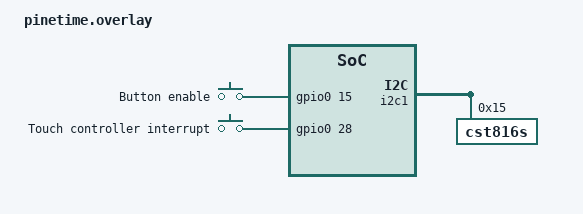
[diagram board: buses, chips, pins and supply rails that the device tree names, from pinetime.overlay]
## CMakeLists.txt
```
# SPDX-License-Identifier: Apache-2.0

cmake_minimum_required(VERSION 3.13.1)
include($ENV{ZEPHYR_BASE}/cmake/app/boilerplate.cmake NO_POLICY_SCOPE)
project(watch)

target_sources(app PRIVATE src/qrcodegen.c src/graphics.c src/main.c src/hl_bluetooth.c src/touch.c src/i2console.c)
```

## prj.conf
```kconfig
CONFIG_PRINTK=y

CONFIG_HEAP_MEM_POOL_SIZE=16384

CONFIG_BT=y
CONFIG_BT_DEVICE_NAME="PineTime"
CONFIG_BT_SMP=y
CONFIG_BT_PERIPHERAL=y
CONFIG_BT_GATT_CLIENT=y
CONFIG_BT_GATT_DIS=y
CONFIG_BT_GATT_DIS_PNP=n
CONFIG_BT_GATT_BAS=y
CONFIG_BT_GATT_HRS=y

CONFIG_GPIO=y
CONFIG_SPI=y
CONFIG_I2C=y
CONFIG_I2C_0=n
CONFIG_I2C_1=y

CONFIG_DISPLAY=y
CONFIG_ST7789V=y
#CONFIG_ST7789V_LCD_TL019FQV01=n
CONFIG_ST7789V_RGB565=y

CONFIG_DISPLAY_LOG_LEVEL_DBG=y

CONFIG_LOG=y
```

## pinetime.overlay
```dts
/ {
	buttons {
		button_enable: button_enable {
			gpios = <&gpio0 15 GPIO_INT_ACTIVE_HIGH>;
			label = "Button enable";
		};
	};

	touch {
		compatible = "gpio-keys";
		touch_interrupt: touch_interrupt {
			gpios = <&gpio0 28 GPIO_INT_ACTIVE_HIGH>;
			label = "Touch controller interrupt";
		};
	};

	aliases {
		touch-interrupt = &touch_interrupt;
		button-enable = &button_enable;
	};
};

&i2c1 {
	cst816s@15 {
		reg = <0x15>;
		label = "CST816S";
	};
};
```

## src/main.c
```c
#include <string.h>
#include <stdio.h>
#include <stdbool.h>

#include "qrcodegen.h"
#include "graphics.h"
#include "hl_bluetooth.h"
#include "touch.h"
#include "i2console.h"

#define BL_PORT DT_ALIAS_LED1_GPIOS_CONTROLLER
#define BL_PIN DT_ALIAS_LED1_GPIOS_PIN

#define BTN_PORT DT_ALIAS_SW0_GPIOS_CONTROLLER
#define BTN_PIN DT_ALIAS_SW0_GPIOS_PIN

#define BTN_ENABLE_PORT DT_ALIAS_BUTTON_ENABLE_GPIOS_CONTROLLER
#define BTN_ENABLE_PIN DT_ALIAS_BUTTON_ENABLE_GPIOS_PIN

// Enables the backlight.
void backlight_init(void) {
    struct device *dev = device_get_binding(BL_PORT);
    gpio_pin_configure(dev, BL_PIN, GPIO_DIR_OUT);
    gpio_pin_write(dev, BL_PIN, 0);
}

void button_init(void) {
    struct device *dev = device_get_binding(BTN_PORT);
    gpio_pin_configure(dev, BTN_PIN, GPIO_DIR_IN | GPIO_PUD_PULL_DOWN);

    dev = device_get_binding(BTN_ENABLE_PORT);
    gpio_pin_configure(dev, BTN_ENABLE_PIN, GPIO_DIR_OUT);
    gpio_pin_write(dev, BTN_ENABLE_PIN, 1);
}

int button_read(void) {
    struct device *dev = device_get_binding(BTN_PORT);
    int value;
    gpio_pin_read(dev, BTN_PIN, &value);
    return value;
}

#define qrprintf(ctx, ...) do { \
        char sprintfed[400]; \
        snprintf(sprintfed, 400, __VA_ARGS__); \
        graphics_clear_display(ctx); \
        graphics_draw_qr_code(ctx, 0, 0, sprintfed); \
    } while (0)

static struct graphics_context *global_ctx;

void main(void) {
    struct device *display = device_get_binding(DT_INST_0_SITRONIX_ST7789V_LABEL);

    backlight_init();
    button_init();
    touch_init();

    struct graphics_context ctx = graphics_init(display);
    global_ctx = &ctx;
    graphics_clear_display(&ctx);

    LOG("Starting!");

    graphics_draw_rect(&ctx, 0, 0, 10, 10, DISPLAY_WHITE);
    graphics_clear_display(&ctx);

    graphics_draw_rect(&ctx, 25, 25, 100, 40, 0b0001100011100011);
    graphics_text_write_string(&ctx, 30, 50, "Hello...", DISPLAY_WHITE, 0b0001100011100011);
    
    while (true) {
        k_usleep(1);

        uint16_t x, y;
        if (touch_get(&x, &y)) {
            graphics_draw_rect(&ctx, x, y, 10, 10, DISPLAY_WHITE);
        }
    }
}
```

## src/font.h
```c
#pragma once

#include <stdint.h>

// From https://github.com/adafruit/Adafruit-GFX-Library/blob/master/Fonts/FreeSans12pt7b.h

struct font_glyph {
    uint16_t bitmap_offset; ///< Pointer into GFXfont->bitmap
    uint8_t width;          ///< Bitmap dimensions in pixels
    uint8_t height;         ///< Bitmap dimensions in pixels
    uint8_t x_advance;      ///< Distance to advance cursor (x axis)
    int8_t x_offset;        ///< X dist from cursor pos to UL corner
    int8_t y_offset;        ///< Y dist from cursor pos to UL corner
};

struct font {
    uint8_t *bitmap;           ///< Glyph bitmaps, concatenated
    struct text_glyph *glyph;  ///< Glyph array
    uint8_t first;             ///< ASCII extents (first char)
    uint8_t last;              ///< ASCII extents (last char)
    uint8_t y_advance;          ///< Newline distance (y axis)
};

const uint8_t font_data[] = {
    0xFF, 0xFF, 0xFF, 0xF0, 0xF0, 0xCF, 0x3C, 0xF3, 0x8A, 0x20, 0x06, 0x30,
    0x31, 0x03, 0x18, 0x18, 0xC7, 0xFF, 0xBF, 0xFC, 0x31, 0x03, 0x18, 0x18,
    0xC7, 0xFF, 0xBF, 0xFC, 0x31, 0x01, 0x18, 0x18, 0xC0, 0xC6, 0x06, 0x30,
    0x04, 0x03, 0xE1, 0xFF, 0x72, 0x6C, 0x47, 0x88, 0xF1, 0x07, 0x20, 0x7E,
    0x03, 0xF0, 0x17, 0x02, 0x3C, 0x47, 0x88, 0xF1, 0x1B, 0x26, 0x7F, 0xC3,
    0xE0, 0x10, 0x02, 0x00, 0x00, 0x06, 0x03, 0xC0, 0x40, 0x7E, 0x0C, 0x0E,
    0x70, 0x80, 0xC3, 0x18, 0x0C, 0x31, 0x00, 0xE7, 0x30, 0x07, 0xE6, 0x00,
    0x3C, 0x40, 0x00, 0x0C, 0x7C, 0x00, 0x8F, 0xE0, 0x19, 0xC7, 0x01, 0x18,
    0x30, 0x31, 0x83, 0x02, 0x1C, 0x70, 0x40, 0xFE, 0x04, 0x07, 0xC0, 0x0F,
    0x00, 0x7E, 0x03, 0x9C, 0x0C, 0x30, 0x30, 0xC0, 0xE7, 0x01, 0xF8, 0x03,
    0x80, 0x3E, 0x01, 0xCC, 0x6E, 0x19, 0xB0, 0x7C, 0xC0, 0xF3, 0x03, 0xCE,
    0x1F, 0x9F, 0xE6, 0x1E, 0x1C, 0xFF, 0xA0, 0x08, 0x8C, 0x66, 0x31, 0x98,
    0xC6, 0x31, 0x8C, 0x63, 0x08, 0x63, 0x08, 0x61, 0x0C, 0x20, 0x82, 0x18,
    0xC3, 0x18, 0xC3, 0x18, 0xC6, 0x31, 0x8C, 0x62, 0x31, 0x88, 0xC4, 0x62,
    0x00, 0x10, 0x23, 0x5B, 0xE3, 0x8D, 0x91, 0x00, 0x0C, 0x03, 0x00, 0xC0,
    0x30, 0xFF, 0xFF, 0xF0, 0xC0, 0x30, 0x0C, 0x03, 0x00, 0xC0, 0xF5, 0x60,
    0xFF, 0xF0, 0xF0, 0x02, 0x0C, 0x10, 0x20, 0xC1, 0x02, 0x0C, 0x10, 0x20,
    0xC1, 0x02, 0x0C, 0x10, 0x20, 0xC1, 0x00, 0x1F, 0x07, 0xF1, 0xC7, 0x30,
    0x6E, 0x0F, 0x80, 0xF0, 0x1E, 0x03, 0xC0, 0x78, 0x0F, 0x01, 0xE0, 0x3C,
    0x0E, 0xC1, 0x9C, 0x71, 0xFC, 0x1F, 0x00, 0x08, 0xCF, 0xFF, 0x8C, 0x63,
    0x18, 0xC6, 0x31, 0x8C, 0x63, 0x18, 0x1F, 0x0F, 0xF9, 0x87, 0x60, 0x7C,
    0x06, 0x00, 0xC0, 0x18, 0x07, 0x01, 0xC0, 0xF0, 0x78, 0x1C, 0x06, 0x00,
    0x80, 0x30, 0x07, 0xFF, 0xFF, 0xE0, 0x3F, 0x0F, 0xF3, 0x87, 0x60, 0x6C,
    0x0C, 0x01, 0x80, 0x70, 0x7C, 0x0F, 0x80, 0x18, 0x01, 0x80, 0x3C, 0x07,
    0x80, 0xD8, 0x73, 0xFC, 0x1F, 0x00, 0x01, 0x80, 0x70, 0x0E, 0x03, 0xC0,
    0xD8, 0x1B, 0x06, 0x61, 0x8C, 0x21, 0x8C, 0x33, 0x06, 0x7F, 0xFF, 0xFE,
    0x03, 0x00, 0x60, 0x0C, 0x01, 0x80, 0x3F, 0xCF, 0xF9, 0x80, 0x30, 0x06,
    0x00, 0xDE, 0x1F, 0xE7, 0x0E, 0x00, 0xE0, 0x0C, 0x01, 0x80, 0x30, 0x07,
    0x81, 0xF8, 0x73, 0xFC, 0x1F, 0x00, 0x0F, 0x07, 0xF9, 0xC3, 0x30, 0x74,
    0x01, 0x80, 0x33, 0xC7, 0xFE, 0xF0, 0xDC, 0x1F, 0x01, 0xE0, 0x3C, 0x06,
    0xC1, 0xDC, 0x71, 0xFC, 0x1F, 0x00, 0xFF, 0xFF, 0xFC, 0x01, 0x00, 0x60,
    0x18, 0x02, 0x00, 0xC0, 0x30, 0x06, 0x01, 0x80, 0x30, 0x04, 0x01, 0x80,
    0x30, 0x06, 0x01, 0x80, 0x30, 0x00, 0x1F, 0x07, 0xF1, 0xC7, 0x30, 0x66,
    0x0C, 0xC1, 0x8C, 0x61, 0xFC, 0x3F, 0x8E, 0x3B, 0x01, 0xE0, 0x3C, 0x07,
    0x80, 0xD8, 0x31, 0xFC, 0x1F, 0x00, 0x1F, 0x07, 0xF1, 0xC7, 0x70, 0x6C,
    0x07, 0x80, 0xF0, 0x1E, 0x07, 0x61, 0xEF, 0xFC, 0x79, 0x80, 0x30, 0x05,
    0x81, 0x98, 0x73, 0xFC, 0x1E, 0x00, 0xF0, 0x00, 0x03, 0xC0, 0xF0, 0x00,
    0x0F, 0x56, 0x00, 0x00, 0x07, 0x01, 0xE0, 0xF8, 0x3C, 0x0F, 0x00, 0xE0,
    0x07, 0xC0, 0x0F, 0x00, 0x3C, 0x00, 0xF0, 0x01, 0xFF, 0xFF, 0xFF, 0x00,
    0x00, 0x00, 0xFF, 0xFF, 0xFF, 0x00, 0x0E, 0x00, 0x78, 0x01, 0xF0, 0x07,
    0xC0, 0x0F, 0x00, 0x70, 0x1E, 0x0F, 0x03, 0xC0, 0xF0, 0x08, 0x00, 0x1F,
    0x1F, 0xEE, 0x1B, 0x03, 0xC0, 0xC0, 0x30, 0x0C, 0x06, 0x03, 0x81, 0xC0,
    0xE0, 0x30, 0x0C, 0x03, 0x00, 0x00, 0x00, 0x0C, 0x03, 0x00, 0x00, 0xFE,
    0x00, 0x0F, 0xFE, 0x00, 0xF0, 0x3E, 0x07, 0x00, 0x3C, 0x38, 0x00, 0x30,
    0xC1, 0xE0, 0x66, 0x0F, 0xD9, 0xD8, 0x61, 0xC3, 0xC3, 0x07, 0x0F, 0x1C,
    0x1C, 0x3C, 0x60, 0x60, 0xF1, 0x81, 0x83, 0xC6, 0x06, 0x1B, 0x18, 0x38,
    0xEE, 0x71, 0xE7, 0x18, 0xFD, 0xF8, 0x71, 0xE7, 0xC0, 0xE0, 0x00, 0x01,
    0xE0, 0x00, 0x01, 0xFF, 0xC0, 0x01, 0xFC, 0x00, 0x03, 0xC0, 0x03, 0xC0,
    0x03, 0xC0, 0x07, 0xE0, 0x06, 0x60, 0x06, 0x60, 0x0E, 0x70, 0x0C, 0x30,
    0x0C, 0x30, 0x1C, 0x38, 0x18, 0x18, 0x1F, 0xF8, 0x3F, 0xFC, 0x30, 0x1C,
    0x30, 0x0C, 0x70, 0x0E, 0x60, 0x06, 0x60, 0x06, 0xFF, 0xC7, 0xFF, 0x30,
    0x19, 0x80, 0x6C, 0x03, 0x60, 0x1B, 0x00, 0xD8, 0x0C, 0xFF, 0xC7, 0xFF,
    0x30, 0x0D, 0x80, 0x3C, 0x01, 0xE0, 0x0F, 0x00, 0x78, 0x06, 0xFF, 0xF7,
    0xFE, 0x00, 0x07, 0xE0, 0x3F, 0xF0, 0xE0, 0x73, 0x80, 0x66, 0x00, 0x6C,
    0x00, 0x30, 0x00, 0x60, 0x00, 0xC0, 0x01, 0x80, 0x03, 0x00, 0x06, 0x00,
    0x06, 0x00, 0x6C, 0x00, 0xDC, 0x03, 0x1E, 0x0E, 0x1F, 0xF8, 0x0F, 0xC0,
    0xFF, 0x83, 0xFF, 0x8C, 0x07, 0x30, 0x0E, 0xC0, 0x1B, 0x00, 0x7C, 0x00,
    0xF0, 0x03, 0xC0, 0x0F, 0x00, 0x3C, 0x00, 0xF0, 0x03, 0xC0, 0x1F, 0x00,
    0x6C, 0x03, 0xB0, 0x1C, 0xFF, 0xE3, 0xFF, 0x00, 0xFF, 0xFF, 0xFF, 0xC0,
    0x0C, 0x00, 0xC0, 0x0C, 0x00, 0xC0, 0x0C, 0x00, 0xFF, 0xEF, 0xFE, 0xC0,
    0x0C, 0x00, 0xC0, 0x0C, 0x00, 0xC0, 0x0C, 0x00, 0xFF, 0xFF, 0xFF, 0xFF,
    0xFF, 0xFF, 0x00, 0x60, 0x0C, 0x01, 0x80, 0x30, 0x06, 0x00, 0xFF, 0xDF,
    0xFB, 0x00, 0x60, 0x0C, 0x01, 0x80, 0x30, 0x06, 0x00, 0xC0, 0x18, 0x00,
    0x07, 0xF0, 0x1F, 0xFC, 0x3C, 0x1E, 0x70, 0x06, 0x60, 0x03, 0xE0, 0x00,
    0xC0, 0x00, 0xC0, 0x00, 0xC0, 0x7F, 0xC0, 0x7F, 0xC0, 0x03, 0xC0, 0x03,
    0x60, 0x03, 0x60, 0x07, 0x30, 0x0F, 0x3C, 0x1F, 0x1F, 0xFB, 0x07, 0xE1,
    0xC0, 0x1E, 0x00, 0xF0, 0x07, 0x80, 0x3C, 0x01, 0xE0, 0x0F, 0x00, 0x78,
    0x03, 0xFF, 0xFF, 0xFF, 0xF0, 0x07, 0x80, 0x3C, 0x01, 0xE0, 0x0F, 0x00,
    0x78, 0x03, 0xC0, 0x1E, 0x00, 0xC0, 0xFF, 0xFF, 0xFF, 0xFF, 0xF0, 0x01,
    0x80, 0xC0, 0x60, 0x30, 0x18, 0x0C, 0x06, 0x03, 0x01, 0x80, 0xC0, 0x60,
    0x3C, 0x1E, 0x0F, 0x07, 0xC7, 0x7F, 0x1F, 0x00, 0xC0, 0x3B, 0x01, 0xCC,
    0x0E, 0x30, 0x70, 0xC3, 0x83, 0x1C, 0x0C, 0xE0, 0x33, 0x80, 0xDE, 0x03,
    0xDC, 0x0E, 0x38, 0x30, 0x60, 0xC1, 0xC3, 0x03, 0x8C, 0x06, 0x30, 0x1C,
    0xC0, 0x3B, 0x00, 0x60, 0xC0, 0x30, 0x0C, 0x03, 0x00, 0xC0, 0x30, 0x0C,
    0x03, 0x00, 0xC0, 0x30, 0x0C, 0x03, 0x00, 0xC0, 0x30, 0x0C, 0x03, 0x00,
    0xFF, 0xFF, 0xF0, 0xE0, 0x07, 0xE0, 0x07, 0xF0, 0x0F, 0xF0, 0x0F, 0xD0,
    0x0F, 0xD8, 0x1B, 0xD8, 0x1B, 0xD8, 0x1B, 0xCC, 0x33, 0xCC, 0x33, 0xCC,
    0x33, 0xC6, 0x63, 0xC6, 0x63, 0xC6, 0x63, 0xC3, 0xC3, 0xC3, 0xC3, 0xC3,
    0xC3, 0xC1, 0x83, 0xE0, 0x1F, 0x00, 0xFC, 0x07, 0xE0, 0x3D, 0x81, 0xEE,
    0x0F, 0x30, 0x79, 0xC3, 0xC6, 0x1E, 0x18, 0xF0, 0xE7, 0x83, 0x3C, 0x1D,
    0xE0, 0x6F, 0x01, 0xF8, 0x0F, 0xC0, 0x3E, 0x01, 0xC0, 0x03, 0xE0, 0x0F,
    0xFC, 0x0F, 0x07, 0x86, 0x00, 0xC6, 0x00, 0x33, 0x00, 0x1B, 0x00, 0x07,
    0x80, 0x03, 0xC0, 0x01, 0xE0, 0x00, 0xF0, 0x00, 0x78, 0x00, 0x36, 0x00,
    0x33, 0x00, 0x18, 0xC0, 0x18, 0x78, 0x3C, 0x1F, 0xFC, 0x03, 0xF8, 0x00,
    0xFF, 0x8F, 0xFE, 0xC0, 0x6C, 0x03, 0xC0, 0x3C, 0x03, 0xC0, 0x3C, 0x07,
    0xFF, 0xEF, 0xFC, 0xC0, 0x0C, 0x00, 0xC0, 0x0C, 0x00, 0xC0, 0x0C, 0x00,
    0xC0, 0x0C, 0x00, 0x03, 0xE0, 0x0F, 0xFC, 0x0F, 0x07, 0x86, 0x00, 0xC6,
    0x00, 0x33, 0x00, 0x1B, 0x00, 0x07, 0x80, 0x03, 0xC0, 0x01, 0xE0, 0x00,
    0xF0, 0x00, 0x78, 0x00, 0x36, 0x00, 0x33, 0x01, 0x98, 0xC0, 0xFC, 0x78,
    0x3C, 0x1F, 0xFF, 0x03, 0xF9, 0x80, 0x00, 0x40, 0xFF, 0xC3, 0xFF, 0xCC,
    0x03, 0xB0, 0x06, 0xC0, 0x1B, 0x00, 0x6C, 0x01, 0xB0, 0x0C, 0xFF, 0xE3,
    0xFF, 0xCC, 0x03, 0xB0, 0x06, 0xC0, 0x1B, 0x00, 0x6C, 0x01, 0xB0, 0x06,
    0xC0, 0x1B, 0x00, 0x70, 0x0F, 0xE0, 0x7F, 0xC3, 0x83, 0x9C, 0x07, 0x60,
    0x0D, 0x80, 0x06, 0x00, 0x1E, 0x00, 0x3F, 0x80, 0x3F, 0xC0, 0x0F, 0x80,
    0x07, 0xC0, 0x0F, 0x00, 0x3E, 0x00, 0xDE, 0x0E, 0x3F, 0xF0, 0x3F, 0x80,
    0xFF, 0xFF, 0xFF, 0x06, 0x00, 0x60, 0x06, 0x00, 0x60, 0x06, 0x00, 0x60,
    0x06, 0x00, 0x60, 0x06, 0x00, 0x60, 0x06, 0x00, 0x60, 0x06, 0x00, 0x60,
    0x06, 0x00, 0x60, 0xC0, 0x1E, 0x00, 0xF0, 0x07, 0x80, 0x3C, 0x01, 0xE0,
    0x0F, 0x00, 0x78, 0x03, 0xC0, 0x1E, 0x00, 0xF0, 0x07, 0x80, 0x3C, 0x01,
    0xE0, 0x0F, 0x80, 0xEE, 0x0E, 0x3F, 0xE0, 0x7C, 0x00, 0x60, 0x06, 0xC0,
    0x1D, 0xC0, 0x31, 0x80, 0x63, 0x01, 0xC7, 0x03, 0x06, 0x06, 0x0C, 0x1C,
    0x1C, 0x30, 0x18, 0x60, 0x31, 0xC0, 0x73, 0x00, 0x66, 0x00, 0xDC, 0x01,
    0xF0, 0x01, 0xE0, 0x03, 0xC0, 0x07, 0x00, 0xE0, 0x30, 0x1D, 0x80, 0xE0,
    0x76, 0x07, 0x81, 0xD8, 0x1E, 0x06, 0x70, 0x7C, 0x18, 0xC1, 0xB0, 0xE3,
    0x0C, 0xC3, 0x8C, 0x33, 0x0C, 0x38, 0xC6, 0x30, 0x67, 0x18, 0xC1, 0x98,
    0x67, 0x06, 0x61, 0xD8, 0x1D, 0x83, 0x60, 0x3C, 0x0D, 0x80, 0xF0, 0x3E,
    0x03, 0xC0, 0x70, 0x0F, 0x01, 0xC0, 0x18, 0x07, 0x00, 0x70, 0x0E, 0x60,
    0x38, 0xE0, 0x60, 0xE1, 0xC0, 0xC3, 0x01, 0xCC, 0x01, 0xF8, 0x01, 0xE0,
    0x03, 0x80, 0x07, 0x80, 0x1F, 0x00, 0x33, 0x00, 0xE7, 0x03, 0x86, 0x06,
    0x0E, 0x1C, 0x0E, 0x70, 0x0C, 0xC0, 0x1C, 0x60, 0x06, 0x70, 0x0E, 0x30,
    0x1C, 0x38, 0x18, 0x1C, 0x38, 0x0C, 0x30, 0x0E, 0x70, 0x06, 0x60, 0x03,
    0xC0, 0x03, 0xC0, 0x01, 0x80, 0x01, 0x80, 0x01, 0x80, 0x01, 0x80, 0x01,
    0x80, 0x01, 0x80, 0x01, 0x80, 0x01, 0x80, 0xFF, 0xFF, 0xFF, 0xC0, 0x0E,
    0x00, 0xE0, 0x0E, 0x00, 0x60, 0x07, 0x00, 0x70, 0x07, 0x00, 0x30, 0x03,
    0x80, 0x38, 0x03, 0x80, 0x18, 0x01, 0xC0, 0x1C, 0x00, 0xFF, 0xFF, 0xFF,
    0xC0, 0xFF, 0xCC, 0xCC, 0xCC, 0xCC, 0xCC, 0xCC, 0xCC, 0xCC, 0xCC, 0xCF,
    0xF0, 0x81, 0x81, 0x02, 0x06, 0x04, 0x08, 0x18, 0x10, 0x20, 0x60, 0x40,
    0x81, 0x81, 0x02, 0x06, 0x04, 0xFF, 0x33, 0x33, 0x33, 0x33, 0x33, 0x33,
    0x33, 0x33, 0x33, 0x3F, 0xF0, 0x0C, 0x0E, 0x05, 0x86, 0xC3, 0x21, 0x19,
    0x8C, 0x83, 0xC1, 0x80, 0xFF, 0xFE, 0xE3, 0x8C, 0x30, 0x3F, 0x07, 0xF8,
    0xE1, 0xCC, 0x0C, 0x00, 0xC0, 0x1C, 0x3F, 0xCF, 0x8C, 0xC0, 0xCC, 0x0C,
    0xE3, 0xC7, 0xEF, 0x3C, 0x70, 0xC0, 0x0C, 0x00, 0xC0, 0x0C, 0x00, 0xC0,
    0x0C, 0xF8, 0xDF, 0xCF, 0x0E, 0xE0, 0x7C, 0x03, 0xC0, 0x3C, 0x03, 0xC0,
    0x3C, 0x03, 0xE0, 0x6F, 0x0E, 0xDF, 0xCC, 0xF8, 0x1F, 0x0F, 0xE7, 0x1B,
    0x83, 0xC0, 0x30, 0x0C, 0x03, 0x00, 0xC0, 0x38, 0x37, 0x1C, 0xFE, 0x1F,
    0x00, 0x00, 0x60, 0x0C, 0x01, 0x80, 0x30, 0x06, 0x3C, 0xCF, 0xFB, 0x8F,
    0xE0, 0xF8, 0x0F, 0x01, 0xE0, 0x3C, 0x07, 0x80, 0xF8, 0x3B, 0x8F, 0x3F,
    0x63, 0xCC, 0x1F, 0x07, 0xF1, 0xC7, 0x70, 0x3C, 0x07, 0xFF, 0xFF, 0xFE,
    0x00, 0xC0, 0x1C, 0x0D, 0xC3, 0x1F, 0xE1, 0xF0, 0x3B, 0xD8, 0xC6, 0x7F,
    0xEC, 0x63, 0x18, 0xC6, 0x31, 0x8C, 0x63, 0x00, 0x1E, 0x67, 0xFD, 0xC7,
    0xF0, 0x7C, 0x07, 0x80, 0xF0, 0x1E, 0x03, 0xC0, 0x7C, 0x1D, 0xC7, 0x9F,
    0xB1, 0xE6, 0x00, 0xC0, 0x3E, 0x0E, 0x7F, 0xC7, 0xE0, 0xC0, 0x30, 0x0C,
    0x03, 0x00, 0xC0, 0x33, 0xCD, 0xFB, 0xC7, 0xE0, 0xF0, 0x3C, 0x0F, 0x03,
    0xC0, 0xF0, 0x3C, 0x0F, 0x03, 0xC0, 0xF0, 0x30, 0xF0, 0x3F, 0xFF, 0xFF,
    0xF0, 0x33, 0x00, 0x03, 0x33, 0x33, 0x33, 0x33, 0x33, 0x33, 0x33, 0x3F,
    0xE0, 0xC0, 0x18, 0x03, 0x00, 0x60, 0x0C, 0x01, 0x83, 0x30, 0xC6, 0x30,
    0xCC, 0x1B, 0x83, 0xF0, 0x77, 0x0C, 0x61, 0x8E, 0x30, 0xE6, 0x0C, 0xC1,
    0xD8, 0x18, 0xFF, 0xFF, 0xFF, 0xFF, 0xF0, 0xCF, 0x1F, 0x6F, 0xDF, 0xFC,
    0x78, 0xFC, 0x18, 0x3C, 0x0C, 0x1E, 0x06, 0x0F, 0x03, 0x07, 0x81, 0x83,
    0xC0, 0xC1, 0xE0, 0x60, 0xF0, 0x30, 0x78, 0x18, 0x3C, 0x0C, 0x18, 0xCF,
    0x37, 0xEF, 0x1F, 0x83, 0xC0, 0xF0, 0x3C, 0x0F, 0x03, 0xC0, 0xF0, 0x3C,
    0x0F, 0x03, 0xC0, 0xC0, 0x1F, 0x07, 0xF1, 0xC7, 0x70, 0x7C, 0x07, 0x80,
    0xF0, 0x1E, 0x03, 0xC0, 0x7C, 0x1D, 0xC7, 0x1F, 0xC1, 0xF0, 0xCF, 0x8D,
    0xFC, 0xF0, 0xEE, 0x06, 0xC0, 0x3C, 0x03, 0xC0, 0x3C, 0x03, 0xC0, 0x3E,
    0x07, 0xF0, 0xEF, 0xFC, 0xCF, 0x8C, 0x00, 0xC0, 0x0C, 0x00, 0xC0, 0x00,
    0x1E, 0x67, 0xFD, 0xC7, 0xF0, 0x7C, 0x07, 0x80, 0xF0, 0x1E, 0x03, 0xC0,
    0x7C, 0x1D, 0xC7, 0x9F, 0xF1, 0xE6, 0x00, 0xC0, 0x18, 0x03, 0x00, 0x60,
    0xCF, 0x7F, 0x38, 0xC3, 0x0C, 0x30, 0xC3, 0x0C, 0x30, 0xC0, 0x3E, 0x1F,
    0xEE, 0x1B, 0x00, 0xC0, 0x3C, 0x07, 0xF0, 0x3E, 0x01, 0xF0, 0x3E, 0x1D,
    0xFE, 0x3E, 0x00, 0x63, 0x19, 0xFF, 0xB1, 0x8C, 0x63, 0x18, 0xC6, 0x31,
    0xE7, 0xC0, 0xF0, 0x3C, 0x0F, 0x03, 0xC0, 0xF0, 0x3C, 0x0F, 0x03, 0xC0,
    0xF0, 0x7E, 0x3D, 0xFB, 0x3C, 0xC0, 0xE0, 0x66, 0x06, 0x60, 0x67, 0x0C,
    0x30, 0xC3, 0x0C, 0x39, 0x81, 0x98, 0x19, 0x81, 0xF0, 0x0F, 0x00, 0xE0,
    0x0E, 0x00, 0xC1, 0xC1, 0xB0, 0xE1, 0xD8, 0x70, 0xCC, 0x2C, 0x66, 0x36,
    0x31, 0x9B, 0x18, 0xCD, 0x98, 0x64, 0x6C, 0x16, 0x36, 0x0F, 0x1A, 0x07,
    0x8F, 0x03, 0x83, 0x80, 0xC1, 0xC0, 0x60, 0xEE, 0x18, 0xC6, 0x0C, 0xC1,
    0xF0, 0x1C, 0x01, 0x80, 0x78, 0x1B, 0x03, 0x30, 0xC7, 0x30, 0x66, 0x06,
    0xE0, 0x6C, 0x0D, 0x83, 0x38, 0x63, 0x0C, 0x63, 0x0E, 0x60, 0xCC, 0x1B,
    0x03, 0x60, 0x3C, 0x07, 0x00, 0xE0, 0x18, 0x03, 0x00, 0xE0, 0x78, 0x0E,
    0x00, 0xFF, 0xFF, 0xF0, 0x18, 0x0C, 0x07, 0x03, 0x81, 0xC0, 0x60, 0x30,
    0x18, 0x0E, 0x03, 0xFF, 0xFF, 0xC0, 0x19, 0xCC, 0x63, 0x18, 0xC6, 0x31,
    0x99, 0x86, 0x18, 0xC6, 0x31, 0x8C, 0x63, 0x1C, 0x60, 0xFF, 0xFF, 0xFF,
    0xFF, 0xFF, 0xFC, 0xC7, 0x18, 0xC6, 0x31, 0x8C, 0x63, 0x0C, 0x33, 0x31,
    0x8C, 0x63, 0x18, 0xC6, 0x73, 0x00, 0x70, 0x3E, 0x09, 0xE4, 0x1F, 0x03,
    0x80};

const struct font_glyph font_glyphs[] = {
    {0, 0, 0, 6, 0, 1},         // 0x20 ' '
    {0, 2, 18, 8, 3, -17},      // 0x21 '!'
    {5, 6, 6, 8, 1, -16},       // 0x22 '"'
    {10, 13, 16, 13, 0, -15},   // 0x23 '#'
    {36, 11, 20, 13, 1, -17},   // 0x24 '$'
    {64, 20, 17, 21, 1, -16},   // 0x25 '%'
    {107, 14, 17, 16, 1, -16},  // 0x26 '&'
    {137, 2, 6, 5, 1, -16},     // 0x27 '''
    {139, 5, 23, 8, 2, -17},    // 0x28 '('
    {154, 5, 23, 8, 1, -17},    // 0x29 ')'
    {169, 7, 7, 9, 1, -17},     // 0x2A '*'
    {176, 10, 11, 14, 2, -10},  // 0x2B '+'
    {190, 2, 6, 7, 2, -1},      // 0x2C ','
    {192, 6, 2, 8, 1, -7},      // 0x2D '-'
    {194, 2, 2, 6, 2, -1},      // 0x2E '.'
    {195, 7, 18, 7, 0, -17},    // 0x2F '/'
    {211, 11, 17, 13, 1, -16},  // 0x30 '0'
    {235, 5, 17, 13, 3, -16},   // 0x31 '1'
    {246, 11, 17, 13, 1, -16},  // 0x32 '2'
    {270, 11, 17, 13, 1, -16},  // 0x33 '3'
    {294, 11, 17, 13, 1, -16},  // 0x34 '4'
    {318, 11, 17, 13, 1, -16},  // 0x35 '5'
    {342, 11, 17, 13, 1, -16},  // 0x36 '6'
    {366, 11, 17, 13, 1, -16},  // 0x37 '7'
    {390, 11, 17, 13, 1, -16},  // 0x38 '8'
    {414, 11, 17, 13, 1, -16},  // 0x39 '9'
    {438, 2, 13, 6, 2, -12},    // 0x3A ':'
    {442, 2, 16, 6, 2, -11},    // 0x3B ';'
    {446, 12, 12, 14, 1, -11},  // 0x3C '<'
    {464, 12, 6, 14, 1, -8},    // 0x3D '='
    {473, 12, 12, 14, 1, -11},  // 0x3E '>'
    {491, 10, 18, 13, 2, -17},  // 0x3F '?'
    {514, 22, 21, 24, 1, -17},  // 0x40 '@'
    {572, 16, 18, 16, 0, -17},  // 0x41 'A'
    {608, 13, 18, 16, 2, -17},  // 0x42 'B'
    {638, 15, 18, 17, 1, -17},  // 0x43 'C'
    {672, 14, 18, 17, 2, -17},  // 0x44 'D'
    {704, 12, 18, 15, 2, -17},  // 0x45 'E'
    {731, 11, 18, 14, 2, -17},  // 0x46 'F'
    {756, 16, 18, 18, 1, -17},  // 0x47 'G'
    {792, 13, 18, 17, 2, -17},  // 0x48 'H'
    {822, 2, 18, 7, 2, -17},    // 0x49 'I'
    {827, 9, 18, 13, 1, -17},   // 0x4A 'J'
    {848, 14, 18, 16, 2, -17},  // 0x4B 'K'
    {880, 10, 18, 14, 2, -17},  // 0x4C 'L'
    {903, 16, 18, 20, 2, -17},  // 0x4D 'M'
    {939, 13, 18, 18, 2, -17},  // 0x4E 'N'
    {969, 17, 18, 19, 1, -17},  // 0x4F 'O'
    {1008, 12, 18, 16, 2, -17}, // 0x50 'P'
    {1035, 17, 19, 19, 1, -17}, // 0x51 'Q'
    {1076, 14, 18, 17, 2, -17}, // 0x52 'R'
    {1108, 14, 18, 16, 1, -17}, // 0x53 'S'
    {1140, 12, 18, 15, 1, -17}, // 0x54 'T'
    {1167, 13, 18, 17, 2, -17}, // 0x55 'U'
    {1197, 15, 18, 15, 0, -17}, // 0x56 'V'
    {1231, 22, 18, 22, 0, -17}, // 0x57 'W'
    {1281, 15, 18, 16, 0, -17}, // 0x58 'X'
    {1315, 16, 18, 16, 0, -17}, // 0x59 'Y'
    {1351, 13, 18, 15, 1, -17}, // 0x5A 'Z'
    {1381, 4, 23, 7, 2, -17},   // 0x5B '['
    {1393, 7, 18, 7, 0, -17},   // 0x5C '\'
    {1409, 4, 23, 7, 1, -17},   // 0x5D ']'
    {1421, 9, 9, 11, 1, -16},   // 0x5E '^'
    {1432, 15, 1, 13, -1, 4},   // 0x5F '_'
    {1434, 5, 4, 6, 1, -17},    // 0x60 '`'
    {1437, 12, 13, 13, 1, -12}, // 0x61 'a'
    {1457, 12, 18, 13, 1, -17}, // 0x62 'b'
    {1484, 10, 13, 12, 1, -12}, // 0x63 'c'
    {1501, 11, 18, 13, 1, -17}, // 0x64 'd'
    {1526, 11, 13, 13, 1, -12}, // 0x65 'e'
    {1544, 5, 18, 7, 1, -17},   // 0x66 'f'
    {1556, 11, 18, 13, 1, -12}, // 0x67 'g'
    {1581, 10, 18, 13, 1, -17}, // 0x68 'h'
    {1604, 2, 18, 5, 2, -17},   // 0x69 'i'
    {1609, 4, 23, 6, 0, -17},   // 0x6A 'j'
    {1621, 11, 18, 12, 1, -17}, // 0x6B 'k'
    {1646, 2, 18, 5, 1, -17},   // 0x6C 'l'
    {1651, 17, 13, 19, 1, -12}, // 0x6D 'm'
    {1679, 10, 13, 13, 1, -12}, // 0x6E 'n'
    {1696, 11, 13, 13, 1, -12}, // 0x6F 'o'
    {1714, 12, 17, 13, 1, -12}, // 0x70 'p'
    {1740, 11, 17, 13, 1, -12}, // 0x71 'q'
    {1764, 6, 13, 8, 1, -12},   // 0x72 'r'
    {1774, 10, 13, 12, 1, -12}, // 0x73 's'
    {1791, 5, 16, 7, 1, -15},   // 0x74 't'
    {1801, 10, 13, 13, 1, -12}, // 0x75 'u'
    {1818, 12, 13, 12, 0, -12}, // 0x76 'v'
    {1838, 17, 13, 17, 0, -12}, // 0x77 'w'
    {1866, 11, 13, 11, 0, -12}, // 0x78 'x'
    {1884, 11, 18, 11, 0, -12}, // 0x79 'y'
    {1909, 10, 13, 12, 1, -12}, // 0x7A 'z'
    {1926, 5, 23, 8, 1, -17},   // 0x7B '{'
    {1941, 2, 23, 6, 2, -17},   // 0x7C '|'
    {1947, 5, 23, 8, 2, -17},   // 0x7D '}'
    {1962, 10, 5, 12, 1, -10}}; // 0x7E '~'

const struct font font =
    {(uint8_t*)font_data, (struct font_glyph*)font_glyphs, 0x20, 0x7E, 22};
```

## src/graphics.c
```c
#include "graphics.h"
#include "qrcodegen.h"
#include "font.h"

#include <string.h>

void graphics_blanking_off(struct graphics_context *ctx) {
    display_blanking_off(ctx->display);
}

void graphics_blanking_on(struct graphics_context *ctx) {
    display_blanking_on(ctx->display);
}

// Creates the graphics context.
struct graphics_context graphics_init(struct device *display) {
    // The buffer shall occupy a quarter of each dimension, a sixteenth overall
    uint16_t buffer_width = DISPLAY_MAX_BUFFER_WIDTH;
    uint16_t buffer_height = DISPLAY_MAX_BUFFER_HEIGHT;
    uint16_t buffer_size = buffer_width * buffer_height * DISPLAY_DEPTH;

    struct graphics_context ctx = {
        .display = display,
        .buffer = k_malloc(buffer_size),
        .descriptor = (struct display_buffer_descriptor){
            .buf_size = buffer_size,
            .pitch = buffer_width,
            .width = buffer_width,
            .height = buffer_height
        }
    };

    memset(ctx.buffer, 0, buffer_size);
    graphics_blanking_off(&ctx);

    return ctx;
}

// Resizes the graphics context buffer to the given dimensions. The area cannot
// be larger than a sixteenth of the display area. Returns a bool indicating
// if the given resize was possible.
// Note: The actual allocated buffer is not resized - it is merely the 
// width, height and pitch which the descriptor indicates.
bool graphics_resize_buffer(struct graphics_context *ctx, uint8_t width, uint8_t height) {
    if (width * height * 2 > ctx->descriptor.buf_size) return false;

    ctx->descriptor.width = width;
    ctx->descriptor.height = height;
    ctx->descriptor.pitch = width;

    return true;
}

// Clears the display.
void graphics_clear_display(struct graphics_context *ctx) {
    // Zero out the buffer and make sure it's the correct size
    memset(ctx->buffer, 0, ctx->descriptor.buf_size);
    graphics_resize_buffer(ctx, DISPLAY_MAX_BUFFER_WIDTH, DISPLAY_MAX_BUFFER_HEIGHT);

    // Tile this buffer over the screen
    for (uint8_t xc = 0; xc < 4; xc++) {
        for (uint8_t yc = 0; yc < 4; yc++) {
            display_write(ctx->display, xc * DISPLAY_MAX_BUFFER_WIDTH, yc * DISPLAY_MAX_BUFFER_HEIGHT, &ctx->descriptor, ctx->buffer);
        }
    }
}

// Fills the buffer with the given RGB565 colour.
void graphics_fill_buffer(struct graphics_context *ctx, uint16_t colour) {
    memset(ctx->buffer, colour, ctx->descriptor.buf_size);
}

// Applies the buffer to the display at a given location.
void graphics_write_buffer(struct graphics_context *ctx, uint16_t x, uint16_t y) {
    display_write(ctx->display, x, y, &ctx->descriptor, ctx->buffer);
}

// Draws a rectangle onto the display. The rectangle cannot have an area larger
// than a sixteenth of the display.
void graphics_draw_rect_fast(struct graphics_context *ctx, uint16_t x, uint16_t y, uint16_t w, uint16_t h, uint16_t colour) {
    graphics_resize_buffer(ctx, w, h);
    graphics_fill_buffer(ctx, colour);
    graphics_write_buffer(ctx, x, y);
}

// Draws a rectangle of any size onto the display.
void graphics_draw_rect(struct graphics_context *ctx, uint16_t x, uint16_t y, uint16_t w, uint16_t h, uint16_t colour) {
    // Tile along each row
    uint16_t remaining_height = h;
    while (remaining_height > 0) {
        uint16_t this_row_height = MIN(remaining_height, DISPLAY_MAX_BUFFER_HEIGHT);

        uint16_t remaining_width = w;
        uint16_t current_x = x;
        while (remaining_width > 0) {
            uint16_t this_buffer_width = MIN(remaining_width, DISPLAY_MAX_BUFFER_WIDTH);
            graphics_draw_rect_fast(ctx, current_x, y, this_buffer_width, this_row_height, colour);
            current_x += this_buffer_width;
            remaining_width -= this_buffer_width;
        }

        y += this_row_height;
        remaining_height -= this_row_height;
    }
}

#define GRAPHICS_QR_CODE_MAX_VERSION 10
#define GRAPHICS_QR_CODE_BORDER_SIZE 5
#define GRAPHICS_QR_CODE_SCALE 4

uint8_t graphics_qr_code_result_buffer[qrcodegen_BUFFER_LEN_FOR_VERSION(GRAPHICS_QR_CODE_MAX_VERSION)];
uint8_t graphics_qr_code_temp_buffer[qrcodegen_BUFFER_LEN_FOR_VERSION(GRAPHICS_QR_CODE_MAX_VERSION)];

void graphics_draw_qr_code(struct graphics_context *ctx, uint8_t x, uint8_t y, char *data) {
    bool qr_result = qrcodegen_encodeText(
        data,
        graphics_qr_code_temp_buffer,
        graphics_qr_code_result_buffer,
        qrcodegen_Ecc_LOW,
        1,
        GRAPHICS_QR_CODE_MAX_VERSION,
        qrcodegen_Mask_0,
        false
    );

    if (!qr_result) return;
    int qr_size = qrcodegen_getSize(graphics_qr_code_result_buffer);

    graphics_draw_rect(
        ctx, x, y,
        qr_size * GRAPHICS_QR_CODE_SCALE + GRAPHICS_QR_CODE_BORDER_SIZE * 2,
        qr_size * GRAPHICS_QR_CODE_SCALE + GRAPHICS_QR_CODE_BORDER_SIZE * 2,
        DISPLAY_WHITE
    );
    x += GRAPHICS_QR_CODE_BORDER_SIZE;
    y += GRAPHICS_QR_CODE_BORDER_SIZE;

    for (int qy = 0; qy < qr_size; qy++) {
        for (int qx = 0; qx < qr_size; qx++) {
            uint16_t colour = qrcodegen_getModule(graphics_qr_code_result_buffer, qx, qy)
                ? DISPLAY_BLACK : DISPLAY_WHITE;
            graphics_draw_rect_fast(
                ctx,
                x + GRAPHICS_QR_CODE_SCALE * qx,
                y + GRAPHICS_QR_CODE_SCALE * qy,
                GRAPHICS_QR_CODE_SCALE, GRAPHICS_QR_CODE_SCALE,
                colour
            );
        }
    }
}

void graphics_text_write_char(struct graphics_context *ctx, uint16_t x, uint16_t y, char character, uint16_t fg_colour, uint16_t bg_colour) {
    struct font_glyph c = font_glyphs[character - ' '];
    for (int i = 0; i < c.width * c.height; i++) {
        // TODO: could massively speed this up with buffer
        int bit = font_data[c.bitmap_offset + (i / 8)] & (0b10000000 >> (i % 8));
        // TODO: draws up from your y, not down from it
        graphics_draw_rect_fast(
            ctx,
            x + c.x_offset + i % c.width,
            y + c.y_offset + i / c.width,
            1, 1,
            bit ? fg_colour : bg_colour
        );
    }
}

// TODO: newline not supported yet
void graphics_text_write_string(struct graphics_context *ctx, uint16_t x, uint16_t y, char* str, uint16_t fg_colour, uint16_t bg_colour) {
    int i = 0;
    char character;
    while (character = str[i++]) {
        struct font_glyph c = font_glyphs[character - ' '];
        graphics_text_write_char(ctx, x, y, character, fg_colour, bg_colour);
        x += c.x_advance;
    }
}
```

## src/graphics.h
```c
#pragma once

#include <stdint.h>
#include <zephyr.h>
#include <device.h>
#include <display.h>
#include <drivers/gpio.h>
#include <drivers/i2c.h>

// Display uses two-byte colour, RGB565
#define DISPLAY_WIDTH 240
#define DISPLAY_HEIGHT 240
#define DISPLAY_DEPTH 2

#define DISPLAY_MAX_BUFFER_WIDTH DISPLAY_WIDTH / 4
#define DISPLAY_MAX_BUFFER_HEIGHT DISPLAY_HEIGHT / 4

#define DISPLAY_WHITE 0b1111111111111111
#define DISPLAY_BLACK 0

struct graphics_context {
    struct device *display;
    uint8_t *buffer;
    struct display_buffer_descriptor descriptor;
};

void graphics_blanking_off(struct graphics_context *ctx);
void graphics_blanking_on(struct graphics_context *ctx);

struct graphics_context graphics_init(struct device *display);

bool graphics_resize_buffer(struct graphics_context *ctx, uint8_t width, uint8_t height);
void graphics_fill_buffer(struct graphics_context *ctx, uint16_t colour);
void graphics_write_buffer(struct graphics_context *ctx, uint16_t x, uint16_t y);
void graphics_draw_rect_fast(struct graphics_context *ctx, uint16_t x, uint16_t y, uint16_t w, uint16_t h, uint16_t colour);
void graphics_draw_rect(struct graphics_context *ctx, uint16_t x, uint16_t y, uint16_t w, uint16_t h, uint16_t colour);
void graphics_draw_qr_code(struct graphics_context *ctx, uint8_t x, uint8_t y, char *data);

void graphics_clear_display(struct graphics_context *ctx);

void graphics_text_write_char(struct graphics_context *ctx, uint16_t x, uint16_t y, char character, uint16_t fg_colour, uint16_t bg_colour);
void graphics_text_write_string(struct graphics_context *ctx, uint16_t x, uint16_t y, char* str, uint16_t fg_colour, uint16_t bg_colour);
```

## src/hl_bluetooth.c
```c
#include "hl_bluetooth.h"

#include <bluetooth/bluetooth.h>
#include <bluetooth/hci.h>
#include <bluetooth/conn.h>
#include <bluetooth/uuid.h>
#include <bluetooth/gatt.h>
#include <bluetooth/services/bas.h>
#include <bluetooth/services/hrs.h>

struct bt_conn *_hl_bluetooth_default_conn;

// The data used to advertise this device over Bluetooth.
static const struct bt_data _hl_ad_data[] = {
    // Flags: This device is a general discoverable device which does not
    // support EDR (enhanced data rate).
    BT_DATA_BYTES(BT_DATA_FLAGS, (BT_LE_AD_GENERAL | BT_LE_AD_NO_BREDR)),

    // Available GATT services:
    //   - 0x180D: Heart rate service
    //   - 0x180F: Battery service
    //   - 0x180A: Device information
    // https://www.bluetooth.com/specifications/gatt/services/
    BT_DATA_BYTES(BT_DATA_UUID16_ALL, 0x0d, 0x18, 0x0f, 0x18, 0x0a, 0x18),
};

// Callback invoked when Bluetooth connects.
void _hl_bluetooth_connected(struct bt_conn *conn, u8_t err)
{
    if (!err) {
        _hl_bluetooth_default_conn = bt_conn_ref(conn);
    }
}

// Callback invoked when Bluetooth disconnects.
void _hl_bluetooth_disconnected(struct bt_conn *conn, u8_t reason)
{
    if (_hl_bluetooth_default_conn) {
        bt_conn_unref(_hl_bluetooth_default_conn);
        _hl_bluetooth_default_conn = NULL;
    }
}

static struct bt_conn_cb _hl_bluetooth_conn_cb = {
    .connected = _hl_bluetooth_connected,
    .disconnected = _hl_bluetooth_disconnected,
};

// Sends a new GATT Battery Service notification to the connected device,
// with the given battery level percentage.
void hl_bluetooth_bas_notify(uint8_t battery_level)
{
    bt_gatt_bas_set_battery_level(battery_level);
}

// Sends a new GATT Heart Rate Service notification to the connected device, 
// with the given heart rate value.
void hl_bluetooth_hrs_notify(uint16_t heart_rate)
{
    bt_gatt_hrs_notify(heart_rate);
}

// Opens this Bluetooth device for connections.
void hl_bluetooth_init(void) {
    bt_enable(NULL);
    bt_le_adv_start(BT_LE_ADV_CONN_NAME, _hl_ad_data, ARRAY_SIZE(_hl_ad_data), NULL, 0);

    bt_conn_cb_register(&_hl_bluetooth_conn_cb);
}
```

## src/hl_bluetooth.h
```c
#pragma once

#include <stdint.h>

void hl_bluetooth_init(void);
void hl_bluetooth_bas_notify(uint8_t battery_level);
void hl_bluetooth_hrs_notify(uint16_t heart_rate);

void cts_notify(void);
uint8_t* fetch_ct();
```

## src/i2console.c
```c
#include "i2console.h"

#include <stdlib.h>
#include <stdarg.h>
#include <stdio.h>
#include <i2c.h>

void i2console_write_byte(uint8_t byte) {
    struct device *i2c_dev = device_get_binding("I2C_1");
    for (int i = 0; i < 8; i++) {
        if (byte & (0b10000000 >> i)) {
            i2c_read(i2c_dev, NULL, 0, 0x42);
        } else {
            i2c_write(i2c_dev, NULL, 0, 0x42);
        }
    }
}

void i2console_write(const char* str) {
    uint32_t i = 0;
    char c;
    while (c = str[i++]) {
        i2console_write_byte((uint8_t)c);
    }
}
```

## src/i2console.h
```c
#pragma once

#include <stdint.h>

void i2console_write_byte(uint8_t byte);
void i2console_write(const char* str);

#define LOG(...) do { \
        char sprintfed[1024]; \
        snprintf(sprintfed, 1024, __VA_ARGS__); \
        i2console_write(sprintfed); \
    } while (0)
```

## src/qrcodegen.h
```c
/* 
 * QR Code generator library (C)
 * 
 * Copyright (c) Project Nayuki. (MIT License)
 * https://www.nayuki.io/page/qr-code-generator-library
 * 
 * Permission is hereby granted, free of charge, to any person obtaining a copy of
 * this software and associated documentation files (the "Software"), to deal in
 * the Software without restriction, including without limitation the rights to
 * use, copy, modify, merge, publish, distribute, sublicense, and/or sell copies of
 * the Software, and to permit persons to whom the Software is furnished to do so,
 * subject to the following conditions:
 * - The above copyright notice and this permission notice shall be included in
 *   all copies or substantial portions of the Software.
 * - The Software is provided "as is", without warranty of any kind, express or
 *   implied, including but not limited to the warranties of merchantability,
 *   fitness for a particular purpose and noninfringement. In no event shall the
 *   authors or copyright holders be liable for any claim, damages or other
 *   liability, whether in an action of contract, tort or otherwise, arising from,
 *   out of or in connection with the Software or the use or other dealings in the
 *   Software.
 */

#pragma once

#include <stdbool.h>
#include <stddef.h>
#include <stdint.h>


#ifdef __cplusplus
extern "C" {
#endif


/* 
 * This library creates QR Code symbols, which is a type of two-dimension barcode.
 * Invented by Denso Wave and described in the ISO/IEC 18004 standard.
 * A QR Code structure is an immutable square grid of black and white cells.
 * The library provides functions to create a QR Code from text or binary data.
 * The library covers the QR Code Model 2 specification, supporting all versions (sizes)
 * from 1 to 40, all 4 error correction levels, and 4 character encoding modes.
 * 
 * Ways to create a QR Code object:
 * - High level: Take the payload data and call qrcodegen_encodeText() or qrcodegen_encodeBinary().
 * - Low level: Custom-make the list of segments and call
 *   qrcodegen_encodeSegments() or qrcodegen_encodeSegmentsAdvanced().
 * (Note that all ways require supplying the desired error correction level and various byte buffers.)
 */


/*---- Enum and struct types----*/

/* 
 * The error correction level in a QR Code symbol.
 */
enum qrcodegen_Ecc {
    // Must be declared in ascending order of error protection
    // so that an internal qrcodegen function works properly
    qrcodegen_Ecc_LOW = 0 ,  // The QR Code can tolerate about  7% erroneous codewords
    qrcodegen_Ecc_MEDIUM  ,  // The QR Code can tolerate about 15% erroneous codewords
    qrcodegen_Ecc_QUARTILE,  // The QR Code can tolerate about 25% erroneous codewords
    qrcodegen_Ecc_HIGH    ,  // The QR Code can tolerate about 30% erroneous codewords
};


/* 
 * The mask pattern used in a QR Code symbol.
 */
enum qrcodegen_Mask {
    // A special value to tell the QR Code encoder to
    // automatically select an appropriate mask pattern
    qrcodegen_Mask_AUTO = -1,
    // The eight actual mask patterns
    qrcodegen_Mask_0 = 0,
    qrcodegen_Mask_1,
    qrcodegen_Mask_2,
    qrcodegen_Mask_3,
    qrcodegen_Mask_4,
    qrcodegen_Mask_5,
    qrcodegen_Mask_6,
    qrcodegen_Mask_7,
};


/* 
 * Describes how a segment's data bits are interpreted.
 */
enum qrcodegen_Mode {
    qrcodegen_Mode_NUMERIC      = 0x1,
    qrcodegen_Mode_ALPHANUMERIC = 0x2,
    qrcodegen_Mode_BYTE         = 0x4,
    qrcodegen_Mode_KANJI        = 0x8,
    qrcodegen_Mode_ECI          = 0x7,
};


/* 
 * A segment of character/binary/control data in a QR Code symbol.
 * The mid-level way to create a segment is to take the payload data
 * and call a factory function such as qrcodegen_makeNumeric().
 * The low-level way to create a segment is to custom-make the bit buffer
 * and initialize a qrcodegen_Segment struct with appropriate values.
 * Even in the most favorable conditions, a QR Code can only hold 7089 characters of data.
 * Any segment longer than this is meaningless for the purpose of generating QR Codes.
 * Moreover, the maximum allowed bit length is 32767 because
 * the largest QR Code (version 40) has 31329 modules.
 */
struct qrcodegen_Segment {
    // The mode indicator of this segment.
    enum qrcodegen_Mode mode;
    
    // The length of this segment's unencoded data. Measured in characters for
    // numeric/alphanumeric/kanji mode, bytes for byte mode, and 0 for ECI mode.
    // Always zero or positive. Not the same as the data's bit length.
    int numChars;
    
    // The data bits of this segment, packed in bitwise big endian.
    // Can be null if the bit length is zero.
    uint8_t *data;
    
    // The number of valid data bits used in the buffer. Requires
    // 0 <= bitLength <= 32767, and bitLength <= (capacity of data array) * 8.
    // The character count (numChars) must agree with the mode and the bit buffer length.
    int bitLength;
};



/*---- Macro constants and functions ----*/

#define qrcodegen_VERSION_MIN   1  // The minimum version number supported in the QR Code Model 2 standard
#define qrcodegen_VERSION_MAX  40  // The maximum version number supported in the QR Code Model 2 standard

// Calculates the number of bytes needed to store any QR Code up to and including the given version number,
// as a compile-time constant. For example, 'uint8_t buffer[qrcodegen_BUFFER_LEN_FOR_VERSION(25)];'
// can store any single QR Code from version 1 to 25 (inclusive). The result fits in an int (or int16).
// Requires qrcodegen_VERSION_MIN <= n <= qrcodegen_VERSION_MAX.
#define qrcodegen_BUFFER_LEN_FOR_VERSION(n)  ((((n) * 4 + 17) * ((n) * 4 + 17) + 7) / 8 + 1)

// The worst-case number of bytes needed to store one QR Code, up to and including
// version 40. This value equals 3918, which is just under 4 kilobytes.
// Use this more convenient value to avoid calculating tighter memory bounds for buffers.
#define qrcodegen_BUFFER_LEN_MAX  qrcodegen_BUFFER_LEN_FOR_VERSION(qrcodegen_VERSION_MAX)



/*---- Functions (high level) to generate QR Codes ----*/

/* 
 * Encodes the given text string to a QR Code, returning true if encoding succeeded.
 * If the data is too long to fit in any version in the given range
 * at the given ECC level, then false is returned.
 * - The input text must be encoded in UTF-8 and contain no NULs.
 * - The variables ecl and mask must correspond to enum constant values.
 * - Requires 1 <= minVersion <= maxVersion <= 40.
 * - The arrays tempBuffer and qrcode must each have a length
 *   of at least qrcodegen_BUFFER_LEN_FOR_VERSION(maxVersion).
 * - After the function returns, tempBuffer contains no useful data.
 * - If successful, the resulting QR Code may use numeric,
 *   alphanumeric, or byte mode to encode the text.
 * - In the most optimistic case, a QR Code at version 40 with low ECC
 *   can hold any UTF-8 string up to 2953 bytes, or any alphanumeric string
 *   up to 4296 characters, or any digit string up to 7089 characters.
 *   These numbers represent the hard upper limit of the QR Code standard.
 * - Please consult the QR Code specification for information on
 *   data capacities per version, ECC level, and text encoding mode.
 */
bool qrcodegen_encodeText(const char *text, uint8_t tempBuffer[], uint8_t qrcode[],
    enum qrcodegen_Ecc ecl, int minVersion, int maxVersion, enum qrcodegen_Mask mask, bool boostEcl);


/* 
 * Encodes the given binary data to a QR Code, returning true if encoding succeeded.
 * If the data is too long to fit in any version in the given range
 * at the given ECC level, then false is returned.
 * - The input array range dataAndTemp[0 : dataLen] should normally be
 *   valid UTF-8 text, but is not required by the QR Code standard.
 * - The variables ecl and mask must correspond to enum constant values.
 * - Requires 1 <= minVersion <= maxVersion <= 40.
 * - The arrays dataAndTemp and qrcode must each have a length
 *   of at least qrcodegen_BUFFER_LEN_FOR_VERSION(maxVersion).
 * - After the function returns, the contents of dataAndTemp may have changed,
 *   and does not represent useful data anymore.
 * - If successful, the resulting QR Code will use byte mode to encode the data.
 * - In the most optimistic case, a QR Code at version 40 with low ECC can hold any byte
 *   sequence up to length 2953. This is the hard upper limit of the QR Code standard.
 * - Please consult the QR Code specification for information on
 *   data capacities per version, ECC level, and text encoding mode.
 */
bool qrcodegen_encodeBinary(uint8_t dataAndTemp[], size_t dataLen, uint8_t qrcode[],
    enum qrcodegen_Ecc ecl, int minVersion, int maxVersion, enum qrcodegen_Mask mask, bool boostEcl);


/*---- Functions (low level) to generate QR Codes ----*/

/* 
 * Renders a QR Code representing the given segments at the given error correction level.
 * The smallest possible QR Code version is automatically chosen for the output. Returns true if
 * QR Code creation succeeded, or false if the data is too long to fit in any version. The ECC level
 * of the result may be higher than the ecl argument if it can be done without increasing the version.
 * This function allows the user to create a custom sequence of segments that switches
 * between modes (such as alphanumeric and byte) to encode text in less space.
 * This is a low-level API; the high-level API is qrcodegen_encodeText() and qrcodegen_encodeBinary().
 * To save memory, the segments' data buffers can alias/overlap tempBuffer, and will
 * result in them being clobbered, but the QR Code output will still be correct.
 * But the qrcode array must not overlap tempBuffer or any segment's data buffer.
 */
bool qrcodegen_encodeSegments(const struct qrcodegen_Segment segs[], size_t len,
    enum qrcodegen_Ecc ecl, uint8_t tempBuffer[], uint8_t qrcode[]);


/* 
 * Renders a QR Code representing the given segments with the given encoding parameters.
 * Returns true if QR Code creation succeeded, or false if the data is too long to fit in the range of versions.
 * The smallest possible QR Code version within the given range is automatically
 * chosen for the output. Iff boostEcl is true, then the ECC level of the result
 * may be higher than the ecl argument if it can be done without increasing the
 * version. The mask is either between qrcodegen_Mask_0 to 7 to force that mask, or
 * qrcodegen_Mask_AUTO to automatically choose an appropriate mask (which may be slow).
 * This function allows the user to create a custom sequence of segments that switches
 * between modes (such as alphanumeric and byte) to encode text in less space.
 * This is a low-level API; the high-level API is qrcodegen_encodeText() and qrcodegen_encodeBinary().
 * To save memory, the segments' data buffers can alias/overlap tempBuffer, and will
 * result in them being clobbered, but the QR Code output will still be correct.
 * But the qrcode array must not overlap tempBuffer or any segment's data buffer.
 */
bool qrcodegen_encodeSegmentsAdvanced(const struct qrcodegen_Segment segs[], size_t len, enum qrcodegen_Ecc ecl,
    int minVersion, int maxVersion, enum qrcodegen_Mask mask, bool boostEcl, uint8_t tempBuffer[], uint8_t qrcode[]);


/* 
 * Tests whether the given string can be encoded as a segment in alphanumeric mode.
 * A string is encodable iff each character is in the following set: 0 to 9, A to Z
 * (uppercase only), space, dollar, percent, asterisk, plus, hyphen, period, slash, colon.
 */
bool qrcodegen_isAlphanumeric(const char *text);


/* 
 * Tests whether the given string can be encoded as a segment in numeric mode.
 * A string is encodable iff each character is in the range 0 to 9.
 */
bool qrcodegen_isNumeric(const char *text);


/* 
 * Returns the number of bytes (uint8_t) needed for the data buffer of a segment
 * containing the given number of characters using the given mode. Notes:
 * - Returns SIZE_MAX on failure, i.e. numChars > INT16_MAX or
 *   the number of needed bits exceeds INT16_MAX (i.e. 32767).
 * - Otherwise, all valid results are in the range [0, ceil(INT16_MAX / 8)], i.e. at most 4096.
 * - It is okay for the user to allocate more bytes for the buffer than needed.
 * - For byte mode, numChars measures the number of bytes, not Unicode code points.
 * - For ECI mode, numChars must be 0, and the worst-case number of bytes is returned.
 *   An actual ECI segment can have shorter data. For non-ECI modes, the result is exact.
 */
size_t qrcodegen_calcSegmentBufferSize(enum qrcodegen_Mode mode, size_t numChars);


/* 
 * Returns a segment representing the given binary data encoded in
 * byte mode. All input byte arrays are acceptable. Any text string
 * can be converted to UTF-8 bytes and encoded as a byte mode segment.
 */
struct qrcodegen_Segment qrcodegen_makeBytes(const uint8_t data[], size_t len, uint8_t buf[]);


/* 
 * Returns a segment representing the given string of decimal digits encoded in numeric mode.
 */
struct qrcodegen_Segment qrcodegen_makeNumeric(const char *digits, uint8_t buf[]);


/* 
 * Returns a segment representing the given text string encoded in alphanumeric mode.
 * The characters allowed are: 0 to 9, A to Z (uppercase only), space,
 * dollar, percent, asterisk, plus, hyphen, period, slash, colon.
 */
struct qrcodegen_Segment qrcodegen_makeAlphanumeric(const char *text, uint8_t buf[]);


/* 
 * Returns a segment representing an Extended Channel Interpretation
 * (ECI) designator with the given assignment value.
 */
struct qrcodegen_Segment qrcodegen_makeEci(long assignVal, uint8_t buf[]);


/*---- Functions to extract raw data from QR Codes ----*/

/* 
 * Returns the side length of the given QR Code, assuming that encoding succeeded.
 * The result is in the range [21, 177]. Note that the length of the array buffer
 * is related to the side length - every 'uint8_t qrcode[]' must have length at least
 * qrcodegen_BUFFER_LEN_FOR_VERSION(version), which equals ceil(size^2 / 8 + 1).
 */
int qrcodegen_getSize(const uint8_t qrcode[]);


/* 
 * Returns the color of the module (pixel) at the given coordinates, which is false
 * for white or true for black. The top left corner has the coordinates (x=0, y=0).
 * If the given coordinates are out of bounds, then false (white) is returned.
 */
bool qrcodegen_getModule(const uint8_t qrcode[], int x, int y);


#ifdef __cplusplus
}
#endif
```

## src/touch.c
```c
#include "touch.h"

#include <i2c.h>

struct gpio_callback _touch_callback;
struct device *_i2c_dev;
bool _touch_available_flag = false;

// A callback invoked immediately when the device detects a touch.
void _touch_pressed_cb(struct device *gpiob, struct gpio_callback *cb, u32_t pins) {
    _touch_available_flag = true;
}

// Initialises the touch controller.
void touch_init(void) {
    // Configure GPIO interrupt
    struct device *gpio_dev = device_get_binding(TOUCH_INT_PORT);
    gpio_pin_configure(gpio_dev, TOUCH_INT_PIN, GPIO_DIR_IN | GPIO_INT);
    
    gpio_init_callback(&_touch_callback, _touch_pressed_cb, BIT(TOUCH_INT_PIN));
    gpio_add_callback(gpio_dev, &_touch_callback);
    gpio_pin_enable_callback(gpio_dev, TOUCH_INT_PIN);

    // Configure I2C for reading touch data
    _i2c_dev = device_get_binding("I2C_1");
    i2c_configure(_i2c_dev, I2C_SPEED_SET(I2C_SPEED_STANDARD) | I2C_MODE_MASTER);
}

// Reads data for a touch from the touch controller, writing the x and y
// coordinates of the touch into the given x and y pointers. Returns a boolean
// indicating whether the I2C read was successful.
bool _touch_read(uint16_t *x, uint16_t *y) {
    // Initialise a buffer large enough for the data we'll read, but keep a zero
    // in it which we then write to prepare the touch controller for reading
    uint8_t b[63] = { 0 };
    i2c_write(_i2c_dev, b, 1, 0x15);
    
    // Read all 63 data bytes
    int read_stat = i2c_read(_i2c_dev, b, 63, 0x15);

    // Construct x and y from their bytes
    *x = ((b[3] & 0xF) << 8) | b[4];
    *y = ((b[5] & 0xF) << 8) | b[6];

    // Return a boolean indicating whether read was successful
    return (read_stat == 0);
}

// If a touch was detected, writes the x and y of the touch into the given
// pointers and returns true, otherwise returns false. Call this from your UI
// event loop to handle input.
bool touch_get(uint16_t *x, uint16_t *y) {
    if (_touch_available_flag) {
        _touch_available_flag = false;
        _touch_read(x, y);
        return true;
    }
    return false;
}
```

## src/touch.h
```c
#pragma once

#include <stdint.h>
#include <zephyr.h>
#include <gpio.h>
#include <stdbool.h>

#define TOUCH_INT_PORT DT_ALIAS_TOUCH_INTERRUPT_GPIOS_CONTROLLER
#define TOUCH_INT_PIN DT_ALIAS_TOUCH_INTERRUPT_GPIOS_PIN

void touch_init(void);
bool touch_get(uint16_t *x, uint16_t *y);
```
